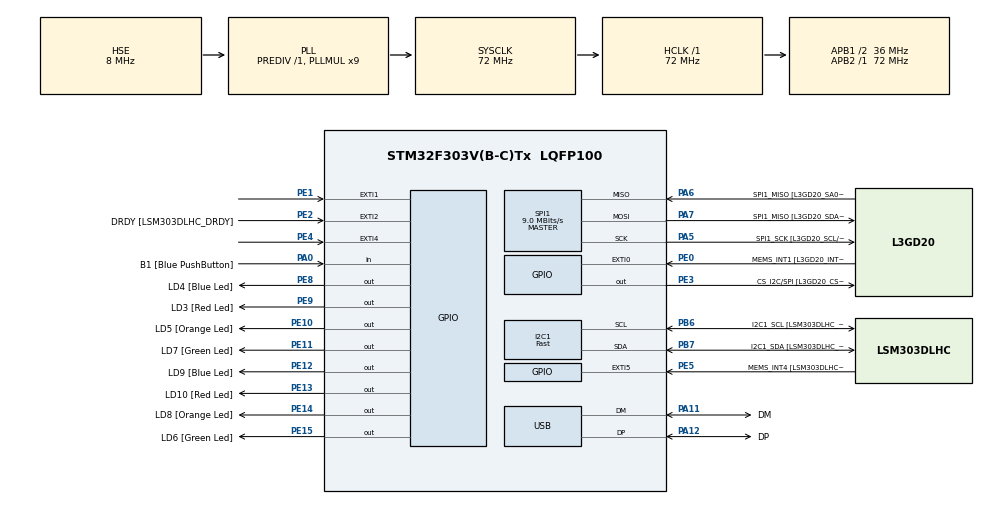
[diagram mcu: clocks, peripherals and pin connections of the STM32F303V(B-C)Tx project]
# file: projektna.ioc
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I2C1.I2C_Speed_Mode=I2C_Fast
I2C1.Timing=0x0010020A
I2C1.Timing-I2C=0x2000090E
Mcu.Family=STM32F3
Mcu.Name=STM32F303V(B-C)Tx
Mcu.Package=LQFP100
NVIC.EXTI1_IRQn=true\:0\:0\:false\:false\:true\:true\:true\:true
NVIC.EXTI4_IRQn=true\:0\:0\:false\:false\:true\:true\:true\:true
NVIC.PriorityGroup=NVIC_PRIORITYGROUP_0
NVIC.USB_LP_CAN_RX0_IRQn=true\:0\:0\:false\:false\:true\:false\:true\:true
PA0.GPIO_Label=B1 [Blue PushButton]
PA0.GPIO_PuPd=GPIO_PULLDOWN
PA0.Signal=GPIO_Input
PA11.GPIO_Label=DM
PA11.Mode=Device
PA11.Signal=USB_DM
PA12.GPIO_Label=DP
PA12.Mode=Device
PA12.Signal=USB_DP
PA13.GPIO_Label=SWDIO
PA13.Mode=Serial_Wire
PA13.Signal=SYS_JTMS-SWDIO
PA14.GPIO_Label=SWCLK
PA14.Mode=Serial_Wire
PA14.Signal=SYS_JTCK-SWCLK
PA5.GPIO_Label=SPI1_SCK [L3GD20_SCL/SPC]
PA5.Mode=Full_Duplex_Master
PA5.Signal=SPI1_SCK
PA6.GPIO_Label=SPI1_MISO [L3GD20_SA0/SDO]
PA6.Mode=Full_Duplex_Master
PA6.Signal=SPI1_MISO
PA7.GPIO_Label=SPI1_MISO [L3GD20_SDA/SDI/SDO]
PA7.Mode=Full_Duplex_Master
PA7.Signal=SPI1_MOSI
PB3.GPIO_Label=SWO
PB3.Signal=SYS_JTDO-TRACESWO
PB6.GPIO_Label=I2C1_SCL [LSM303DLHC_SCL]
PB6.GPIO_Pu=GPIO_PULLUP
PB6.Mode=I2C
PB6.Signal=I2C1_SCL
PB7.GPIO_Label=I2C1_SDA [LSM303DLHC_SDA]
PB7.GPIO_Pu=GPIO_PULLUP
PB7.Mode=I2C
PB7.Signal=I2C1_SDA
PC14-OSC32_IN.GPIO_Label=OSC32_IN
PC14-OSC32_IN.Signal=RCC_OSC32_IN
PC15-OSC32_OUT.GPIO_Label=OSC32_OUT
PC15-OSC32_OUT.Signal=RCC_OSC32_OUT
PE0.GPIO_Label=MEMS_INT1 [L3GD20_INT1]
PE0.GPIO_ModeDefaultEXTI=GPIO_MODE_EVT_RISING
PE0.Signal=GPXTI0
PE1.GPIO_PuPd=GPIO_NOPULL
PE1.Signal=GPXTI1
PE10.GPIO_Label=LD5 [Orange Led]
PE10.GPIO_PuPd=GPIO_NOPULL
PE10.Signal=GPIO_Output
PE11.GPIO_Label=LD7 [Green Led]
PE11.GPIO_PuPd=GPIO_NOPULL
PE11.Signal=GPIO_Output
PE12.GPIO_Label=LD9 [Blue Led]
PE12.Signal=GPIO_Output
PE13.GPIO_Label=LD10 [Red Led]
PE13.Signal=GPIO_Output
PE14.GPIO_Label=LD8 [Orange Led]
PE14.Signal=GPIO_Output
PE15.GPIO_Label=LD6 [Green Led]
PE15.Signal=GPIO_Output
PE2.GPIO_Label=DRDY [LSM303DLHC_DRDY]
PE2.GPIO_ModeDefaultEXTI=GPIO_MODE_EVT_RISING
PE2.Signal=GPXTI2
PE3.GPIO_Label=CS_I2C/SPI [L3GD20_CS_I2C/SPI]
PE3.GPIO_Speed=GPIO_SPEED_FREQ_HIGH
PE3.Signal=GPIO_Output
PE4.Signal=GPXTI4
PE5.GPIO_Label=MEMS_INT4 [LSM303DLHC_INT2]
PE5.GPIO_ModeDefaultEXTI=GPIO_MODE_EVT_RISING
PE5.Signal=GPXTI5
PE8.GPIO_Label=LD4 [Blue Led]
PE8.Signal=GPIO_Output
PE9.GPIO_Label=LD3 [Red Led]
PE9.Signal=GPIO_Output
PF0-OSC_IN.GPIO_Label=OSC_IN
PF0-OSC_IN.Mode=HSE-External-Clock-Source
PF0-OSC_IN.Signal=RCC_OSC_IN
PF1-OSC_OUT.GPIO_Label=OSC_OUT
PF1-OSC_OUT.Signal=RCC_OSC_OUT
ProjectManager.HeapSize=0x200
ProjectManager.StackSize=0x400
ProjectManager.TargetToolchain=STM32CubeIDE
RCC.AHBFreq_Value=72000000
RCC.APB1CLKDivider=RCC_HCLK_DIV2
RCC.APB1Freq_Value=36000000
RCC.APB1TimFreq_Value=72000000
RCC.APB2Freq_Value=72000000
RCC.APB2TimFreq_Value=72000000
RCC.CortexFreq_Value=72000000
RCC.HCLKFreq_Value=72000000
RCC.HSE_VALUE=8000000
RCC.HSI_VALUE=8000000
RCC.LSE_VALUE=32768
RCC.PLLMUL=RCC_PLL_MUL9
RCC.PRESCALERUSB=RCC_USBCLKSOURCE_PLL_DIV1_5
RCC.SYSCLKFreq_VALUE=72000000
RCC.SYSCLKSourceVirtual=RCC_SYSCLKSOURCE_PLLCLK
RCC.USBFreq_Value=48000000
SPI1.BaudRatePrescaler=SPI_BAUDRATEPRESCALER_8
SPI1.BaudRatePrescaler-Full_Duplex_Master=SPI_BAUDRATEPRESCALER_2
SPI1.CLKPhase=SPI_PHASE_2EDGE
SPI1.CLKPolarity=SPI_POLARITY_HIGH
SPI1.CalculateBaudRate=9.0 MBits/s
SPI1.CalculateBaudRate-Full_Duplex_Master=24.0 MBits/s
SPI1.DataSize=SPI_DATASIZE_8BIT
SPI1.Direction=SPI_DIRECTION_2LINES
SPI1.Mode=SPI_MODE_MASTER
SPI1.Mode-Full_Duplex_Master=SPI_MODE_MASTER
SPI1.VirtualType=VM_MASTER
USB_DEVICE.CLASS_NAME_FS=CDC
USB_DEVICE.VirtualMode=Cdc
USB_DEVICE.VirtualModeFS=Cdc_FS
VP_USB_DEVICE_VS_USB_DEVICE_CDC_FS.Mode=CDC_FS
board=STM32F3DISCOVERY

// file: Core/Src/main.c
/* USER CODE BEGIN Header */
/**
  ******************************************************************************
  * @file           : main.c
  * @brief          : Main program body
  ******************************************************************************
  * @attention
  *
  * Copyright (c) 2024 STMicroelectronics.
  * All rights reserved.
  *
  * This software is licensed under terms that can be found in the LICENSE file
  * in the root directory of this software component.
  * If no LICENSE file comes with this software, it is provided AS-IS.
  *
  ******************************************************************************
  */
/* USER CODE END Header */
#include "main.h"
#include "usb_device.h"

/* USER CODE BEGIN Includes */

#include "usbd_cdc_if.h"
#include <stdbool.h>

/* USER CODE END Includes */

I2C_HandleTypeDef hi2c1;

SPI_HandleTypeDef hspi1;

/* USER CODE BEGIN PV */

volatile uint8_t data_ready_flag = 0;
volatile uint8_t acc_ready_flag = 0;
static bool binaryOn = false;
static bool asciiOn  = false;

/* USER CODE END PV */

void SystemClock_Config(void);
static void MX_GPIO_Init(void);
static void MX_I2C1_Init(void);
static void MX_SPI1_Init(void);
/* USER CODE BEGIN PFP */

uint8_t i2c1_pisiRegister(uint8_t, uint8_t, uint8_t);
void i2c1_beriRegistre(uint8_t, uint8_t, uint8_t*, uint8_t);
void initLSM303DLHC(void);
float convertToG(int16_t);
int packetNumber = 0;

uint8_t spi1_beriRegister(uint8_t);
void spi1_beriRegistre(uint8_t, uint8_t*, uint8_t);
void spi1_pisiRegister(uint8_t, uint8_t);
void initL3GD20(void);

/* USER CODE END PFP */

/* USER CODE BEGIN 0 */

uint8_t i2c1_pisiRegister(uint8_t naprava, uint8_t reg, uint8_t podatek)
{
  naprava <<= 1;
  return HAL_I2C_Mem_Write(&hi2c1, naprava, reg, I2C_MEMADD_SIZE_8BIT, &podatek, 1, 10);
}

void i2c1_beriRegistre(uint8_t naprava, uint8_t reg, uint8_t* podatek, uint8_t dolzina)
{
  if ((dolzina>1)&&(naprava==0x19))  // ce je naprava 0x19 moramo postaviti ta bit, ce zelimo brati vec zlogov
    reg |= 0x80;
  naprava <<= 1;
  HAL_I2C_Mem_Read(&hi2c1, naprava, reg, I2C_MEMADD_SIZE_8BIT, podatek, dolzina, dolzina);
}

void initLSM303DLHC()
{
	HAL_Delay(10);

	// Old sensor - 0x73
	i2c1_pisiRegister(0x1E, 0x4F, 0x73);
	HAL_Delay(100);

	uint8_t CTRL_REG1_A = 0x20;
	uint8_t CTRL_REG3_A = 0x22;
	uint8_t CTRL_REG4_A = 0x23;

	i2c1_pisiRegister(0x19, CTRL_REG1_A, 0x47); // 01000111 - 50Hz, XYZ enabled
	i2c1_pisiRegister(0x19, CTRL_REG4_A, 0x90); // 10010000 - Update after reading, +-4g
	i2c1_pisiRegister(0x19, CTRL_REG3_A, 0x10); // 00010000 - Data ready interrupt
}

float convertToG(int16_t rawValue) {
    // +-4g -> 8000 / 65535 = 0.122
    return (rawValue * 0.122f) / 1000;
}

// Pavza, s katero omogocimo pravilno delovanje avtomatskega testa
void pavza(){
	uint32_t counter = 0;
	for(counter=0; counter<600; counter++){
		asm("nop");
	}
}

uint8_t spi1_beriRegister(uint8_t reg)
{
	uint16_t buf_out, buf_in;
	reg |= 0x80; // najpomembnejsi bit na 1
	buf_out = reg; // little endian, se postavi na pravo mesto ....
	HAL_GPIO_WritePin(GPIOE, GPIO_PIN_3, GPIO_PIN_RESET);
	pavza();
	//HAL_SPI_TransmitReceive(&hspi1, (uint8_t*)&buf_out, (uint8_t*)&buf_in, 2, 2); // blocking posiljanje ....
	HAL_SPI_TransmitReceive(&hspi1, &((uint8_t*)&buf_out)[0], &((uint8_t*)&buf_in)[0], 1, 2); // razbito na dva dela, da se podaljsa cas in omogoci pravilno delovanje testa
	pavza();
	HAL_SPI_TransmitReceive(&hspi1, &((uint8_t*)&buf_out)[1], &((uint8_t*)&buf_in)[1], 1, 2); // razbito na dva dela, da se podaljsa cas in omogoci pravilno delovanje testa
	HAL_GPIO_WritePin(GPIOE, GPIO_PIN_3, GPIO_PIN_SET);
	pavza();
	return buf_in >> 8; // little endian...
}

void spi1_pisiRegister(uint8_t reg, uint8_t vrednost)
{
	uint16_t buf_out;
	buf_out = reg | (vrednost<<8); // little endian, se postavi na pravo mesto ....
	HAL_GPIO_WritePin(GPIOE, GPIO_PIN_3, GPIO_PIN_RESET);
	pavza();
	//HAL_SPI_Transmit(&hspi1, (uint8_t*)&buf_out, 2, 2); // blocking posiljanje ....
	HAL_SPI_Transmit(&hspi1, &((uint8_t*)&buf_out)[0], 1, 2); // razbito na dva dela, da se podaljsa cas in omogoci pravilno delovanje testa
	pavza();
	HAL_SPI_Transmit(&hspi1, &((uint8_t*)&buf_out)[1], 1, 2); // razbito na dva dela, da se podaljsa cas in omogoci pravilno delovanje testa
	HAL_GPIO_WritePin(GPIOE, GPIO_PIN_3, GPIO_PIN_SET);
	pavza();
}

void spi1_beriRegistre(uint8_t reg, uint8_t* buffer, uint8_t velikost)
{
	reg |= 0xC0; // najpomembnejsa bita na 1
	HAL_GPIO_WritePin(GPIOE, GPIO_PIN_3, GPIO_PIN_RESET);
	pavza();
	HAL_SPI_Transmit(&hspi1, &reg, 1, 10); // blocking posiljanje....
	pavza();
	HAL_SPI_Receive(&hspi1,  buffer, velikost, velikost); // blocking posiljanje....
	HAL_GPIO_WritePin(GPIOE, GPIO_PIN_3, GPIO_PIN_SET);
	pavza();
}

int16_t spi1_preberiTemperaturo() {
	return (int16_t)spi1_beriRegister(0x26); // Register za temperaturo
}

float pretvori_v_dps(int16_t raw_value) {
	return raw_value * 0.0175;
}

void initL3GD20()
{
	// preverimo ali smo "poklicali" pravi senzor
	uint8_t cip = spi1_beriRegister(0x0F);
	if (cip != 0xD4 && cip != 0xD3)
		for (;;);

	// CTRL_REG1: Nastavi 200 Hz, zbudi ziroskop in omogoci osi
	// spi1_pisiRegister(0x20, 0x4F);

	spi1_pisiRegister(0x23, 0x10);
}
void enableDataReadyINT2()
{
    spi1_pisiRegister(0x22, 0x08); // Nastavi bit 3 na 1 (I2_DRDY na INT2)
}

/* USER CODE END 0 */

int main(void)
{

  /* MCU Configuration--------------------------------------------------------*/

  /* Reset of all peripherals, Initializes the Flash interface and the Systick. */
  HAL_Init();

  /* Configure the system clock */
  SystemClock_Config();

  /* Initialize all configured peripherals */
  MX_GPIO_Init();
  MX_I2C1_Init();
  MX_SPI1_Init();
  MX_USB_DEVICE_Init();
  /* USER CODE BEGIN 2 */

  __HAL_I2C_ENABLE(&hi2c1);
  __HAL_SPI_ENABLE(&hspi1);
  HAL_GPIO_WritePin(GPIOE, GPIO_PIN_3, GPIO_PIN_SET); // CS postavimo na 1

  initL3GD20();
  initLSM303DLHC();
  enableDataReadyINT2();

  spi1_pisiRegister(0x20, 0x6F); // Nastavi DR=01, BW=10, omogoci X, Y, Z
  spi1_pisiRegister(0x23, 0x10); // Nastavi FS=01 za +-500 dps

  float shake1=0;
  float shake2=0;
  float combinedShake=0;
  char output[32];

  int8_t flag1 = 0;
  int8_t flag2 = 0;

  /* USER CODE END 2 */

  /* Infinite loop */
  /* USER CODE BEGIN WHILE */
  while (1)
  {
	if(acc_ready_flag == 1){
		acc_ready_flag = 0;
		int16_t data[3];
		i2c1_beriRegistre(0x19, 0x28, (uint8_t*)&data[0], 6);

		int16_t rawX = data[0];
		int16_t rawY = data[1];
		int16_t rawZ = data[2];

		float accX = convertToG(rawX);
		float accY = convertToG(rawY);
		float accZ = convertToG(rawZ);

		float totalAcc = sqrt(accX * accX + accY * accY + accZ * accZ);

		float shake = totalAcc/5;
		if(shake > 1.0f){
			shake = 1.0f;
		}
		shake -= 0.190f;
		if(shake<0){
			shake = 0;
		}
		shake1=shake;
		flag1=1;
	}
	if(data_ready_flag){
		data_ready_flag = 0;
		int16_t data[3];
		spi1_beriRegistre(0x28, (uint8_t*)&data[0], 6);
		float x_dps = pretvori_v_dps(data[0]);
		float y_dps = pretvori_v_dps(data[1]);
		float z_dps = pretvori_v_dps(data[2]);

		float totalGyro = sqrt(x_dps * x_dps + y_dps * y_dps + z_dps * z_dps);
		float shake = totalGyro / 1000.0f;
		if(shake > 1.0f){
			shake = 1.0f;
		}
		shake2 = shake;
		flag2=1;
	}
	if(flag1 == 1 && flag2 == 1){
		flag1 = 0;
		flag2 = 0;
		combinedShake = (shake1 + shake2)/2.0f;
		snprintf(output, sizeof(output), "0xAAAB,%.3f\n\r", combinedShake);
		CDC_Transmit_FS((uint8_t*)output, strlen(output));
	}

    /* USER CODE END WHILE */

  }
}

void SystemClock_Config(void)
{
  RCC_OscInitTypeDef RCC_OscInitStruct = {0};
  RCC_ClkInitTypeDef RCC_ClkInitStruct = {0};
  RCC_PeriphCLKInitTypeDef PeriphClkInit = {0};

  /** Initializes the RCC Oscillators according to the specified parameters
  * in the RCC_OscInitTypeDef structure.
  */
  RCC_OscInitStruct.OscillatorType = RCC_OSCILLATORTYPE_HSI|RCC_OSCILLATORTYPE_HSE;
  RCC_OscInitStruct.HSEState = RCC_HSE_BYPASS;
  RCC_OscInitStruct.HSEPredivValue = RCC_HSE_PREDIV_DIV1;
  RCC_OscInitStruct.HSIState = RCC_HSI_ON;
  RCC_OscInitStruct.HSICalibrationValue = RCC_HSICALIBRATION_DEFAULT;
  RCC_OscInitStruct.PLL.PLLState = RCC_PLL_ON;
  RCC_OscInitStruct.PLL.PLLSource = RCC_PLLSOURCE_HSE;
  RCC_OscInitStruct.PLL.PLLMUL = RCC_PLL_MUL9;
  if (HAL_RCC_OscConfig(&RCC_OscInitStruct) != HAL_OK)
  {
    Error_Handler();
  }

  /** Initializes the CPU, AHB and APB buses clocks
  */
  RCC_ClkInitStruct.ClockType = RCC_CLOCKTYPE_HCLK|RCC_CLOCKTYPE_SYSCLK
                              |RCC_CLOCKTYPE_PCLK1|RCC_CLOCKTYPE_PCLK2;
  RCC_ClkInitStruct.SYSCLKSource = RCC_SYSCLKSOURCE_PLLCLK;
  RCC_ClkInitStruct.AHBCLKDivider = RCC_SYSCLK_DIV1;
  RCC_ClkInitStruct.APB1CLKDivider = RCC_HCLK_DIV2;
  RCC_ClkInitStruct.APB2CLKDivider = RCC_HCLK_DIV1;

  if (HAL_RCC_ClockConfig(&RCC_ClkInitStruct, FLASH_LATENCY_2) != HAL_OK)
  {
    Error_Handler();
  }
  PeriphClkInit.PeriphClockSelection = RCC_PERIPHCLK_USB|RCC_PERIPHCLK_I2C1;
  PeriphClkInit.I2c1ClockSelection = RCC_I2C1CLKSOURCE_HSI;
  PeriphClkInit.USBClockSelection = RCC_USBCLKSOURCE_PLL_DIV1_5;
  if (HAL_RCCEx_PeriphCLKConfig(&PeriphClkInit) != HAL_OK)
  {
    Error_Handler();
  }
}

static void MX_I2C1_Init(void)
{

  hi2c1.Instance = I2C1;
  hi2c1.Init.Timing = 0x0010020A;
  hi2c1.Init.OwnAddress1 = 0;
  hi2c1.Init.AddressingMode = I2C_ADDRESSINGMODE_7BIT;
  hi2c1.Init.DualAddressMode = I2C_DUALADDRESS_DISABLE;
  hi2c1.Init.OwnAddress2 = 0;
  hi2c1.Init.OwnAddress2Masks = I2C_OA2_NOMASK;
  hi2c1.Init.GeneralCallMode = I2C_GENERALCALL_DISABLE;
  hi2c1.Init.NoStretchMode = I2C_NOSTRETCH_DISABLE;
  if (HAL_I2C_Init(&hi2c1) != HAL_OK)
  {
    Error_Handler();
  }

  /** Configure Analogue filter
  */
  if (HAL_I2CEx_ConfigAnalogFilter(&hi2c1, I2C_ANALOGFILTER_ENABLE) != HAL_OK)
  {
    Error_Handler();
  }

  /** Configure Digital filter
  */
  if (HAL_I2CEx_ConfigDigitalFilter(&hi2c1, 0) != HAL_OK)
  {
    Error_Handler();
  }

}

static void MX_SPI1_Init(void)
{

  /* SPI1 parameter configuration*/
  hspi1.Instance = SPI1;
  hspi1.Init.Mode = SPI_MODE_MASTER;
  hspi1.Init.Direction = SPI_DIRECTION_2LINES;
  hspi1.Init.DataSize = SPI_DATASIZE_8BIT;
  hspi1.Init.CLKPolarity = SPI_POLARITY_HIGH;
  hspi1.Init.CLKPhase = SPI_PHASE_2EDGE;
  hspi1.Init.NSS = SPI_NSS_SOFT;
  hspi1.Init.BaudRatePrescaler = SPI_BAUDRATEPRESCALER_8;
  hspi1.Init.FirstBit = SPI_FIRSTBIT_MSB;
  hspi1.Init.TIMode = SPI_TIMODE_DISABLE;
  hspi1.Init.CRCCalculation = SPI_CRCCALCULATION_DISABLE;
  hspi1.Init.CRCPolynomial = 7;
  hspi1.Init.CRCLength = SPI_CRC_LENGTH_DATASIZE;
  hspi1.Init.NSSPMode = SPI_NSS_PULSE_DISABLE;
  if (HAL_SPI_Init(&hspi1) != HAL_OK)
  {
    Error_Handler();
  }

}

static void MX_GPIO_Init(void)
{
  GPIO_InitTypeDef GPIO_InitStruct = {0};

  /* GPIO Ports Clock Enable */
  __HAL_RCC_GPIOE_CLK_ENABLE();
  __HAL_RCC_GPIOC_CLK_ENABLE();
  __HAL_RCC_GPIOF_CLK_ENABLE();
  __HAL_RCC_GPIOA_CLK_ENABLE();
  __HAL_RCC_GPIOB_CLK_ENABLE();

  /*Configure GPIO pin Output Level */
  HAL_GPIO_WritePin(GPIOE, CS_I2C_SPI_Pin|LD4_Pin|LD3_Pin|LD5_Pin
                          |LD7_Pin|LD9_Pin|LD10_Pin|LD8_Pin
                          |LD6_Pin, GPIO_PIN_RESET);

  /*Configure GPIO pins : DRDY_Pin MEMS_INT4_Pin MEMS_INT1_Pin */
  GPIO_InitStruct.Pin = DRDY_Pin|MEMS_INT4_Pin|MEMS_INT1_Pin;
  GPIO_InitStruct.Mode = GPIO_MODE_EVT_RISING;
  GPIO_InitStruct.Pull = GPIO_NOPULL;
  HAL_GPIO_Init(GPIOE, &GPIO_InitStruct);

  /*Configure GPIO pin : CS_I2C_SPI_Pin */
  GPIO_InitStruct.Pin = CS_I2C_SPI_Pin;
  GPIO_InitStruct.Mode = GPIO_MODE_OUTPUT_PP;
  GPIO_InitStruct.Pull = GPIO_NOPULL;
  GPIO_InitStruct.Speed = GPIO_SPEED_FREQ_HIGH;
  HAL_GPIO_Init(CS_I2C_SPI_GPIO_Port, &GPIO_InitStruct);

  /*Configure GPIO pins : PE4 PE1 */
  GPIO_InitStruct.Pin = GPIO_PIN_4|GPIO_PIN_1;
  GPIO_InitStruct.Mode = GPIO_MODE_IT_RISING;
  GPIO_InitStruct.Pull = GPIO_NOPULL;
  HAL_GPIO_Init(GPIOE, &GPIO_InitStruct);

  /*Configure GPIO pin : B1_Pin */
  GPIO_InitStruct.Pin = B1_Pin;
  GPIO_InitStruct.Mode = GPIO_MODE_INPUT;
  GPIO_InitStruct.Pull = GPIO_PULLDOWN;
  HAL_GPIO_Init(B1_GPIO_Port, &GPIO_InitStruct);

  /*Configure GPIO pins : LD4_Pin LD3_Pin LD5_Pin LD7_Pin
                           LD9_Pin LD10_Pin LD8_Pin LD6_Pin */
  GPIO_InitStruct.Pin = LD4_Pin|LD3_Pin|LD5_Pin|LD7_Pin
                          |LD9_Pin|LD10_Pin|LD8_Pin|LD6_Pin;
  GPIO_InitStruct.Mode = GPIO_MODE_OUTPUT_PP;
  GPIO_InitStruct.Pull = GPIO_NOPULL;
  GPIO_InitStruct.Speed = GPIO_SPEED_FREQ_LOW;
  HAL_GPIO_Init(GPIOE, &GPIO_InitStruct);

  /* EXTI interrupt init*/
  HAL_NVIC_SetPriority(EXTI1_IRQn, 0, 0);
  HAL_NVIC_EnableIRQ(EXTI1_IRQn);

  HAL_NVIC_SetPriority(EXTI4_IRQn, 0, 0);
  HAL_NVIC_EnableIRQ(EXTI4_IRQn);

}

/* USER CODE BEGIN 4 */

/* Ta funkcija se klice vsakic, ko pride do prekinitve na katerem koli EXTI pinu. */
void HAL_GPIO_EXTI_Callback(uint16_t GPIO_Pin)
{
    if (GPIO_Pin == GPIO_PIN_1) // PE1 je povezan z INT2 (Data Ready)
    {
    	//ziroskop
        data_ready_flag = 1;
    }
    if (GPIO_Pin == GPIO_PIN_4)
    {
    	//pospeskometer
    	acc_ready_flag = 1;
    }
}

/* USER CODE END 4 */

void Error_Handler(void)
{
  __disable_irq();
  while (1)
  {
  }
}
